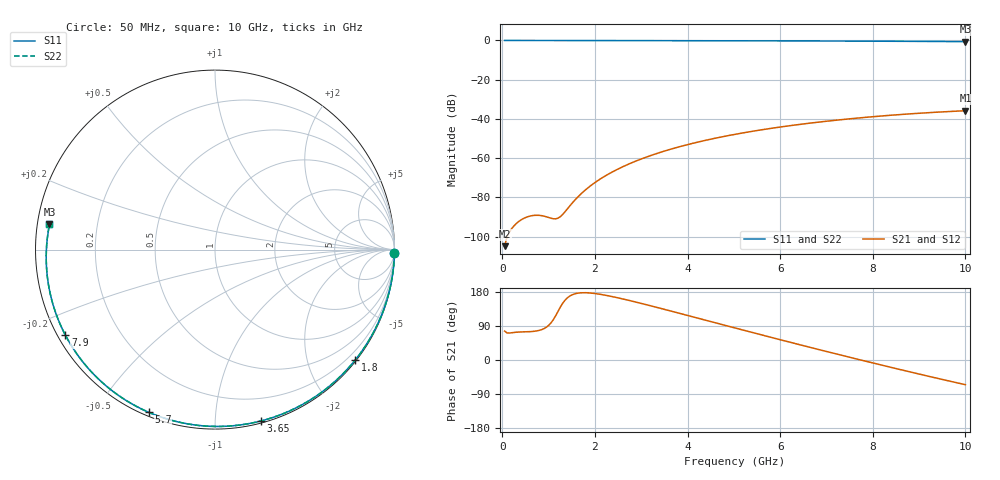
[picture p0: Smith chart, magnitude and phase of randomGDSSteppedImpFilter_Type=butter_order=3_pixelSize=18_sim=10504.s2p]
! freq	dB(S11)	phase(S11)	dB(S12)	phase(S12)
!  dB(S21)	phase(S21)	dB(S22)	phase(S22)
!S-par simulation data
#  GHz  S  DB  R 50
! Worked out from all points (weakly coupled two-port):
!   200 points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, 50 MHz to 10 GHz, reference 50 ohm
!   highest |S21| = -35.82 dB at 10 GHz (marker M1); lowest = -104.9 dB at 50 MHz (marker M2)
!   lowest |S11| = -0.6 dB at 10 GHz (marker M3), VSWR 28.71, Z = 1.75 + j3.77 ohm
!   |S11| at or under -10 dB: nowhere
!   |S22| runs from -0.6 to 0.0 dB; largest |S21 - S12| = 0
!   S11 on the Smith chart (normalised r, x): 50 MHz: open; 1.8 GHz: 0.03, -2.89; 3.65 GHz: 0.02, -1.31; 5.7 GHz: 0.02, -0.67; 7.9 GHz: 0.02, -0.27; 10 GHz: 0.04, +0.08
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0.05  -0.00 -1.1  -104.86 76.4  -104.86 76.4  -0.00 -1.1
0.4  -0.01 -8.6  -91.54 74.0  -91.54 74.0  -0.01 -8.6
0.8  -0.02 -17.2  -89.16 78.2  -89.16 78.2  -0.02 -17.2
1.6  -0.04 -34.0  -80.53 175.7  -80.53 175.7  -0.04 -34.0
1.65  -0.04 -35.1  -79.33 176.7  -79.33 176.7  -0.04 -35.0
1.75  -0.05 -37.1  -77.10 177.6  -77.10 177.6  -0.05 -37.1
1.8  -0.05 -38.2  -76.08 177.5  -76.08 177.5  -0.05 -38.1
2.1  -0.06 -44.3  -70.85 173.7  -70.85 173.7  -0.06 -44.3
2.45  -0.07 -51.4  -66.11 165.3  -66.11 165.3  -0.07 -51.4
2.9  -0.08 -60.4  -61.33 152.4  -61.33 152.4  -0.08 -60.3
3.4  -0.09 -70.1  -57.13 136.9  -57.13 136.9  -0.09 -70.1
3.65  -0.10 -74.9  -55.33 128.9  -55.33 128.9  -0.10 -74.9
4.35  -0.12 -88.0  -51.10 106.3  -51.10 106.3  -0.12 -88.0
5.05  -0.15 -100.7  -47.74 83.7  -47.74 83.7  -0.15 -100.7
5.7  -0.19 -112.2  -45.17 63.0  -45.17 63.0  -0.19 -112.2
6.2  -0.22 -120.9  -43.47 47.3  -43.47 47.3  -0.22 -120.9
6.7  -0.25 -129.5  -41.98 31.7  -41.98 31.7  -0.25 -129.5
7.3  -0.30 -139.8  -40.42 13.3  -40.42 13.3  -0.30 -139.8
7.9  -0.35 -150.2  -39.07 -4.8  -39.07 -4.8  -0.35 -150.2
8.35  -0.40 -158.1  -38.19 -18.2  -38.19 -18.2  -0.40 -158.1
9.2  -0.50 -173.4  -36.81 -42.8  -36.81 -42.8  -0.50 -173.4
10  -0.61 171.4  -35.82 -65.2  -35.82 -65.2  -0.61 171.4
